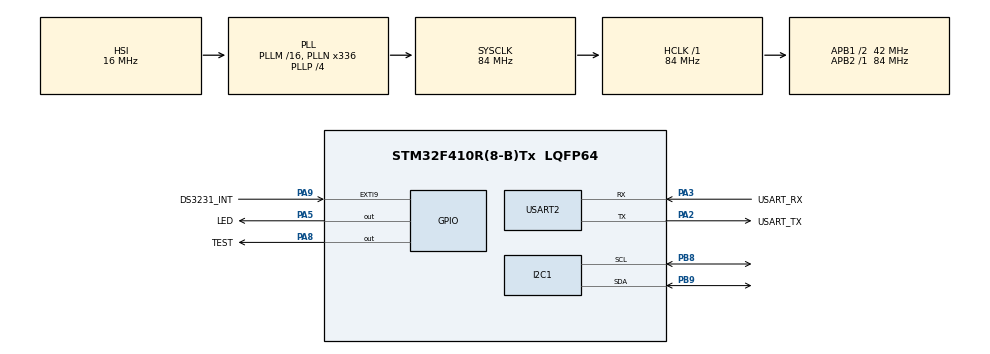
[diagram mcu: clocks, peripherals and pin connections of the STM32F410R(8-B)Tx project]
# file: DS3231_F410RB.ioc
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Dma.I2C1_RX.0.Direction=DMA_PERIPH_TO_MEMORY
Dma.I2C1_RX.0.FIFOMode=DMA_FIFOMODE_DISABLE
Dma.I2C1_RX.0.Instance=DMA1_Stream0
Dma.I2C1_RX.0.MemDataAlignment=DMA_MDATAALIGN_BYTE
Dma.I2C1_RX.0.MemInc=DMA_MINC_ENABLE
Dma.I2C1_RX.0.Mode=DMA_NORMAL
Dma.I2C1_RX.0.PeriphDataAlignment=DMA_PDATAALIGN_BYTE
Dma.I2C1_RX.0.PeriphInc=DMA_PINC_DISABLE
Dma.I2C1_RX.0.Priority=DMA_PRIORITY_LOW
Dma.I2C1_TX.1.Direction=DMA_MEMORY_TO_PERIPH
Dma.I2C1_TX.1.FIFOMode=DMA_FIFOMODE_DISABLE
Dma.I2C1_TX.1.Instance=DMA1_Stream1
Dma.I2C1_TX.1.MemDataAlignment=DMA_MDATAALIGN_BYTE
Dma.I2C1_TX.1.MemInc=DMA_MINC_ENABLE
Dma.I2C1_TX.1.Mode=DMA_NORMAL
Dma.I2C1_TX.1.PeriphDataAlignment=DMA_PDATAALIGN_BYTE
Dma.I2C1_TX.1.PeriphInc=DMA_PINC_DISABLE
Dma.I2C1_TX.1.Priority=DMA_PRIORITY_LOW
Dma.Request0=I2C1_RX
Dma.Request1=I2C1_TX
I2C1.I2C_Mode=I2C_Fast
Mcu.Family=STM32F4
Mcu.Name=STM32F410R(8-B)Tx
Mcu.Package=LQFP64
NVIC.DMA1_Stream0_IRQn=true\:0\:0\:false\:false\:true\:false\:true
NVIC.DMA1_Stream1_IRQn=true\:0\:0\:false\:false\:true\:false\:true
NVIC.EXTI9_5_IRQn=true\:0\:0\:false\:false\:true\:true\:true
NVIC.PriorityGroup=NVIC_PRIORITYGROUP_0
PA13.GPIO_Label=TMS
PA13.Mode=Serial_Wire
PA13.Signal=SYS_JTMS-SWDIO
PA14.GPIO_Label=TCK
PA14.Mode=Serial_Wire
PA14.Signal=SYS_JTCK-SWCLK
PA2.GPIO_Label=USART_TX
PA2.Mode=Asynchronous
PA2.Signal=USART2_TX
PA3.GPIO_Label=USART_RX
PA3.Mode=Asynchronous
PA3.Signal=USART2_RX
PA5.GPIO_Label=LED
PA5.Signal=GPIO_Output
PA8.GPIO_Label=TEST
PA8.Signal=GPIO_Output
PA9.GPIO_Label=DS3231_INT
PA9.GPIO_ModeDefaultEXTI=GPIO_MODE_IT_FALLING
PA9.GPIO_PuPd=GPIO_PULLUP
PA9.Signal=GPXTI9
PB3.GPIO_Label=SWO
PB3.Signal=SYS_JTDO-SWO
PB8.Mode=I2C
PB8.Signal=I2C1_SCL
PB9.Mode=I2C
PB9.Signal=I2C1_SDA
PC14-OSC32_IN.Mode=LSE-External-Oscillator
PC14-OSC32_IN.Signal=RCC_OSC32_IN
PC15-OSC32_OUT.Mode=LSE-External-Oscillator
PC15-OSC32_OUT.Signal=RCC_OSC32_OUT
PH0\ -\ OSC_IN.Mode=HSE-External-Clock-Source
PH0\ -\ OSC_IN.Signal=RCC_OSC_IN
PH1\ -\ OSC_OUT.Mode=HSE-External-Clock-Source
PH1\ -\ OSC_OUT.Signal=RCC_OSC_OUT
ProjectManager.HeapSize=0x200
ProjectManager.StackSize=0x400
ProjectManager.TargetToolchain=STM32CubeIDE
RCC.48MHZClocksFreq_Value=84000000
RCC.AHBFreq_Value=84000000
RCC.APB1CLKDivider=RCC_HCLK_DIV2
RCC.APB1Freq_Value=42000000
RCC.APB1TimFreq_Value=84000000
RCC.APB2Freq_Value=84000000
RCC.APB2TimFreq_Value=84000000
RCC.CortexFreq_Value=84000000
RCC.FLatency-AdvancedSettings=FLASH_LATENCY_2
RCC.HCLKFreq_Value=84000000
RCC.HSE_VALUE=8000000
RCC.HSI_VALUE=16000000
RCC.PLLN=336
RCC.PLLP=RCC_PLLP_DIV4
RCC.SYSCLKFreq_VALUE=84000000
RCC.SYSCLKSource=RCC_SYSCLKSOURCE_PLLCLK
RCC.VCOOutputFreq_Value=336000000
USART2.VirtualMode=VM_ASYNC
board=NUCLEO-F410RB

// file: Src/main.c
/* USER CODE BEGIN Header */
/**
  ******************************************************************************
  * @file           : main.c
  * @brief          : Main program body
  ******************************************************************************
  * @attention
  *
  * <h2><center>&copy; Copyright (c) 2019 STMicroelectronics.
  * All rights reserved.</center></h2>
  *
  * This software component is licensed by ST under BSD 3-Clause license,
  * the "License"; You may not use this file except in compliance with the
  * License. You may obtain a copy of the License at:
  *                        opensource.org/licenses/BSD-3-Clause
  *
  ******************************************************************************
  *
  *  Created on: 28.08.2019
  *      Author: Mateusz Salamon
  *		 mateusz@msalamon.pl
  *
  *      Website: https://msalamon.pl/piekielnie-dokladny-rtc-ds3231-na-stm32/
  *      GitHub:  https://github.com/lamik/DS3231_RTC_STM32_HAL
  *      Contact: mateusz@msalamon.pl
  */
/* USER CODE END Header */

#include "main.h"
#include "dma.h"
#include "i2c.h"
#include "usart.h"
#include "gpio.h"

/* USER CODE BEGIN Includes */
#include "DS3231.h"
#include "stdio.h"
/* USER CODE END Includes */

/* USER CODE BEGIN PV */
RTCDateTime r;		// Date and Time variable
uint8_t Message[32]; // UART message
uint8_t MessageSize;
/* USER CODE END PV */

void SystemClock_Config(void);

int main(void)
{

  /* MCU Configuration--------------------------------------------------------*/

  /* Reset of all peripherals, Initializes the Flash interface and the Systick. */
  HAL_Init();

  /* Configure the system clock */
  SystemClock_Config();

  /* Initialize all configured peripherals */
  MX_GPIO_Init();
  MX_DMA_Init();
  MX_USART2_UART_Init();
  MX_I2C1_Init();
  /* USER CODE BEGIN 2 */
  DS3231_Init(&hi2c1);

  uint32_t TimerUART = HAL_GetTick();
  /* USER CODE END 2 */

  /* Infinite loop */
  /* USER CODE BEGIN WHILE */
  while (1)
  {
	  if((HAL_GetTick() - TimerUART) > 1000)
	  {
		  MessageSize = sprintf(Message, "%02d:%02d:%02d\n\r", r.Hour, r.Minute, r.Second);
		  HAL_UART_Transmit(&huart2, Message, MessageSize, 1000);
		  TimerUART = HAL_GetTick();
	  }
    /* USER CODE END WHILE */

  }
}

void SystemClock_Config(void)
{
  RCC_OscInitTypeDef RCC_OscInitStruct = {0};
  RCC_ClkInitTypeDef RCC_ClkInitStruct = {0};

  /** Configure the main internal regulator output voltage
  */
  __HAL_RCC_PWR_CLK_ENABLE();
  __HAL_PWR_VOLTAGESCALING_CONFIG(PWR_REGULATOR_VOLTAGE_SCALE1);
  /** Initializes the CPU, AHB and APB busses clocks
  */
  RCC_OscInitStruct.OscillatorType = RCC_OSCILLATORTYPE_HSI;
  RCC_OscInitStruct.HSIState = RCC_HSI_ON;
  RCC_OscInitStruct.HSICalibrationValue = RCC_HSICALIBRATION_DEFAULT;
  RCC_OscInitStruct.PLL.PLLState = RCC_PLL_ON;
  RCC_OscInitStruct.PLL.PLLSource = RCC_PLLSOURCE_HSI;
  RCC_OscInitStruct.PLL.PLLM = 16;
  RCC_OscInitStruct.PLL.PLLN = 336;
  RCC_OscInitStruct.PLL.PLLP = RCC_PLLP_DIV4;
  RCC_OscInitStruct.PLL.PLLQ = 4;
  RCC_OscInitStruct.PLL.PLLR = 2;
  if (HAL_RCC_OscConfig(&RCC_OscInitStruct) != HAL_OK)
  {
    Error_Handler();
  }
  /** Initializes the CPU, AHB and APB busses clocks
  */
  RCC_ClkInitStruct.ClockType = RCC_CLOCKTYPE_HCLK|RCC_CLOCKTYPE_SYSCLK
                              |RCC_CLOCKTYPE_PCLK1|RCC_CLOCKTYPE_PCLK2;
  RCC_ClkInitStruct.SYSCLKSource = RCC_SYSCLKSOURCE_PLLCLK;
  RCC_ClkInitStruct.AHBCLKDivider = RCC_SYSCLK_DIV1;
  RCC_ClkInitStruct.APB1CLKDivider = RCC_HCLK_DIV2;
  RCC_ClkInitStruct.APB2CLKDivider = RCC_HCLK_DIV1;

  if (HAL_RCC_ClockConfig(&RCC_ClkInitStruct, FLASH_LATENCY_2) != HAL_OK)
  {
    Error_Handler();
  }
}

/* USER CODE BEGIN 4 */
void HAL_GPIO_EXTI_Callback(uint16_t GPIO_Pin)
{
	if(GPIO_Pin == DS3231_INT_Pin)
	{
		DS3231_ReceiveDateTimeDMA();
	}
}

void HAL_I2C_MemRxCpltCallback(I2C_HandleTypeDef *hi2c)
{
	DS3231_CalculateDateTime(&r);
}
/* USER CODE END 4 */

void Error_Handler(void)
{
}

/************************ (C) COPYRIGHT STMicroelectronics *****END OF FILE****/
